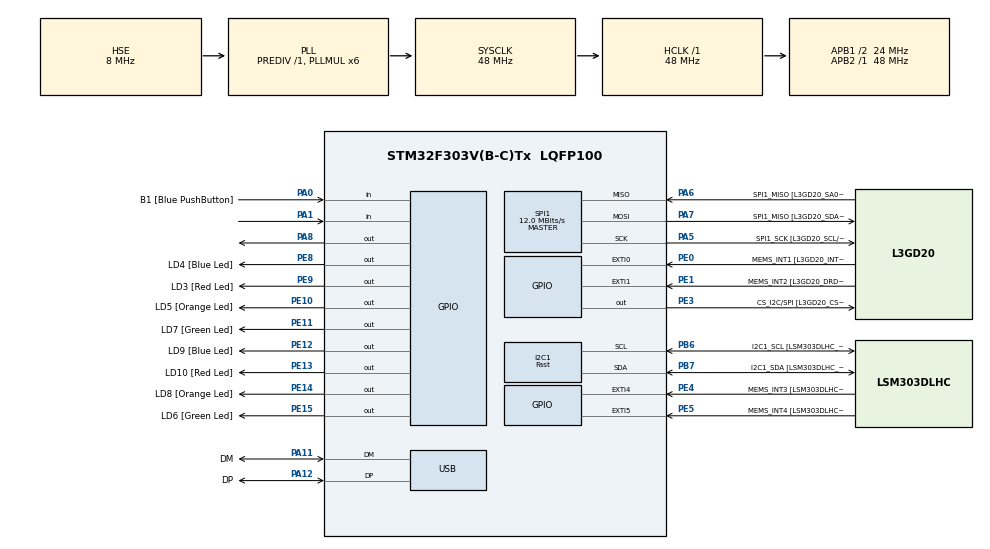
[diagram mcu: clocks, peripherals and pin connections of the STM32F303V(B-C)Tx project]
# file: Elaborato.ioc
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I2C1.I2C_Speed_Mode=I2C_Fast
I2C1.Timing=0x0000020B
I2C1.Timing-I2C=0x2000090E
Mcu.Family=STM32F3
Mcu.Name=STM32F303V(B-C)Tx
Mcu.Package=LQFP100
NVIC.PriorityGroup=NVIC_PRIORITYGROUP_0
PA0.GPIO_Label=B1 [Blue PushButton]
PA0.Signal=GPIO_Input
PA1.Signal=GPIO_Input
PA11.GPIO_Label=DM
PA11.Mode=Device
PA11.Signal=USB_DM
PA12.GPIO_Label=DP
PA12.Mode=Device
PA12.Signal=USB_DP
PA13.GPIO_Label=SWDIO
PA13.Mode=Serial_Wire
PA13.Signal=SYS_JTMS-SWDIO
PA14.GPIO_Label=SWCLK
PA14.Mode=Serial_Wire
PA14.Signal=SYS_JTCK-SWCLK
PA5.GPIO_Label=SPI1_SCK [L3GD20_SCL/SPC]
PA5.Mode=Full_Duplex_Master
PA5.Signal=SPI1_SCK
PA6.GPIO_Label=SPI1_MISO [L3GD20_SA0/SDO]
PA6.Mode=Full_Duplex_Master
PA6.Signal=SPI1_MISO
PA7.GPIO_Label=SPI1_MISO [L3GD20_SDA/SDI/SDO]
PA7.Mode=Full_Duplex_Master
PA7.Signal=SPI1_MOSI
PA8.Signal=GPIO_Output
PB3.GPIO_Label=SWO
PB3.Signal=SYS_JTDO-TRACESWO
PB6.GPIO_Label=I2C1_SCL [LSM303DLHC_SCL]
PB6.GPIO_Pu=GPIO_PULLUP
PB6.Mode=I2C
PB6.Signal=I2C1_SCL
PB7.GPIO_Label=I2C1_SDA [LSM303DLHC_SDA]
PB7.GPIO_Pu=GPIO_PULLUP
PB7.Mode=I2C
PB7.Signal=I2C1_SDA
PC14-OSC32_IN.GPIO_Label=OSC32_IN
PC14-OSC32_IN.Signal=RCC_OSC32_IN
PC15-OSC32_OUT.GPIO_Label=OSC32_OUT
PC15-OSC32_OUT.Signal=RCC_OSC32_OUT
PE0.GPIO_Label=MEMS_INT1 [L3GD20_INT1]
PE0.GPIO_ModeDefaultEXTI=GPIO_MODE_EVT_RISING
PE0.Signal=GPXTI0
PE1.GPIO_Label=MEMS_INT2 [L3GD20_DRDY/INT2]
PE1.GPIO_ModeDefaultEXTI=GPIO_MODE_EVT_RISING
PE1.Signal=GPXTI1
PE10.GPIO_Label=LD5 [Orange Led]
PE10.Signal=GPIO_Output
PE11.GPIO_Label=LD7 [Green Led]
PE11.Signal=GPIO_Output
PE12.GPIO_Label=LD9 [Blue Led]
PE12.Signal=GPIO_Output
PE13.GPIO_Label=LD10 [Red Led]
PE13.Signal=GPIO_Output
PE14.GPIO_Label=LD8 [Orange Led]
PE14.Signal=GPIO_Output
PE15.GPIO_Label=LD6 [Green Led]
PE15.Signal=GPIO_Output
PE3.GPIO_Label=CS_I2C/SPI [L3GD20_CS_I2C/SPI]
PE3.Signal=GPIO_Output
PE4.GPIO_Label=MEMS_INT3 [LSM303DLHC_INT1]
PE4.GPIO_ModeDefaultEXTI=GPIO_MODE_EVT_RISING
PE4.Signal=GPXTI4
PE5.GPIO_Label=MEMS_INT4 [LSM303DLHC_INT2]
PE5.GPIO_ModeDefaultEXTI=GPIO_MODE_EVT_RISING
PE5.Signal=GPXTI5
PE8.GPIO_Label=LD4 [Blue Led]
PE8.Signal=GPIO_Output
PE9.GPIO_Label=LD3 [Red Led]
PE9.Signal=GPIO_Output
PF0-OSC_IN.GPIO_Label=OSC_IN
PF0-OSC_IN.Mode=HSE-External-Oscillator
PF0-OSC_IN.Signal=RCC_OSC_IN
PF1-OSC_OUT.GPIO_Label=OSC_OUT
PF1-OSC_OUT.Mode=HSE-External-Oscillator
PF1-OSC_OUT.Signal=RCC_OSC_OUT
ProjectManager.HeapSize=0x200
ProjectManager.StackSize=0x400
ProjectManager.TargetToolchain=STM32CubeIDE
RCC.AHBFreq_Value=48000000
RCC.APB1CLKDivider=RCC_HCLK_DIV2
RCC.APB1Freq_Value=24000000
RCC.APB1TimFreq_Value=48000000
RCC.APB2Freq_Value=48000000
RCC.APB2TimFreq_Value=48000000
RCC.CortexFreq_Value=48000000
RCC.HCLKFreq_Value=48000000
RCC.HSE_VALUE=8000000
RCC.HSI_VALUE=8000000
RCC.LSE_VALUE=32768
RCC.PLLMUL=RCC_PLL_MUL6
RCC.SYSCLKFreq_VALUE=48000000
RCC.SYSCLKSourceVirtual=RCC_SYSCLKSOURCE_PLLCLK
RCC.USBFreq_Value=48000000
SPI1.BaudRatePrescaler=SPI_BAUDRATEPRESCALER_4
SPI1.BaudRatePrescaler-Full_Duplex_Master=SPI_BAUDRATEPRESCALER_2
SPI1.CalculateBaudRate=12.0 MBits/s
SPI1.CalculateBaudRate-Full_Duplex_Master=24.0 MBits/s
SPI1.Direction=SPI_DIRECTION_2LINES
SPI1.Mode=SPI_MODE_MASTER
SPI1.Mode-Full_Duplex_Master=SPI_MODE_MASTER
SPI1.VirtualType=VM_MASTER
VP_TIM2_VS_ClockSourceINT.Mode=Internal
board=STM32F3DISCOVERY

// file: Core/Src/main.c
/* USER CODE BEGIN Header */
/**
  ******************************************************************************
  * @file           : main.c
  * @brief          : Main program body
  ******************************************************************************
  * @attention
  *
  * Copyright (c) 2024 STMicroelectronics.
  * All rights reserved.
  *
  * This software is licensed under terms that can be found in the LICENSE file
  * in the root directory of this software component.
  * If no LICENSE file comes with this software, it is provided AS-IS.
  *
  ******************************************************************************
  */
/* USER CODE END Header */
#include "main.h"

/* USER CODE BEGIN Includes */
#include "ssd1306.h"
#include "ssd1306_tests.h"
#include "ssd1306_fonts.h"
#include "string.h"
#include "stdio.h"
#include "hx711.h"
/* USER CODE END Includes */

I2C_HandleTypeDef hi2c1;

SPI_HandleTypeDef hspi1;

TIM_HandleTypeDef htim2;

PCD_HandleTypeDef hpcd_USB_FS;

void SystemClock_Config(void);
static void MX_GPIO_Init(void);
static void MX_I2C1_Init(void);
static void MX_SPI1_Init(void);
static void MX_USB_PCD_Init(void);
static void MX_TIM2_Init(void);

int main(void)
{

  /* MCU Configuration--------------------------------------------------------*/

  /* Reset of all peripherals, Initializes the Flash interface and the Systick. */
  HAL_Init();

  /* Configure the system clock */
  SystemClock_Config();

  /* Initialize all configured peripherals */
  MX_GPIO_Init();
  MX_I2C1_Init();
  MX_SPI1_Init();
  MX_USB_PCD_Init();
  MX_TIM2_Init();
  /* USER CODE BEGIN 2 */
  ssd1306_Init();
  HAL_TIM_Base_Start(&htim2);
  HAL_GPIO_WritePin(HX711_SCK_PORT, HX711_SCK_PIN, GPIO_PIN_SET);
  HAL_Delay(10);
  HAL_GPIO_WritePin(HX711_SCK_PORT, HX711_SCK_PIN, GPIO_PIN_RESET);
  HAL_Delay(10);

  /* USER CODE END 2 */

  /* Infinite loop */
  /* USER CODE BEGIN WHILE */
  	  // Inizializzazione HX711
  	  HX711_Init();
      // Inizializzazione SSD1306
  	  HX711_SetGain(128);
  	  //HX711_IsReady();

      while (1) {

    	  int32_t weight = HX711_Read();

    	  printf("Peso : %ld",weight);

    	  HAL_Delay(1000);
    	  /*
			  ssd1306_Fill(Black);
              ssd1306_SetCursor(0, 0);
              ssd1306_WriteString(buffer, Font_7x10, White);
              ssd1306_UpdateScreen();
			*/
          }
          // Attendi un po' prima di leggere di nuovo

    /* USER CODE END WHILE */

}

void SystemClock_Config(void)
{
  RCC_OscInitTypeDef RCC_OscInitStruct = {0};
  RCC_ClkInitTypeDef RCC_ClkInitStruct = {0};
  RCC_PeriphCLKInitTypeDef PeriphClkInit = {0};

  /** Initializes the RCC Oscillators according to the specified parameters
  * in the RCC_OscInitTypeDef structure.
  */
  RCC_OscInitStruct.OscillatorType = RCC_OSCILLATORTYPE_HSI|RCC_OSCILLATORTYPE_HSE;
  RCC_OscInitStruct.HSEState = RCC_HSE_ON;
  RCC_OscInitStruct.HSEPredivValue = RCC_HSE_PREDIV_DIV1;
  RCC_OscInitStruct.HSIState = RCC_HSI_ON;
  RCC_OscInitStruct.HSICalibrationValue = RCC_HSICALIBRATION_DEFAULT;
  RCC_OscInitStruct.PLL.PLLState = RCC_PLL_ON;
  RCC_OscInitStruct.PLL.PLLSource = RCC_PLLSOURCE_HSE;
  RCC_OscInitStruct.PLL.PLLMUL = RCC_PLL_MUL6;
  if (HAL_RCC_OscConfig(&RCC_OscInitStruct) != HAL_OK)
  {
    Error_Handler();
  }

  /** Initializes the CPU, AHB and APB buses clocks
  */
  RCC_ClkInitStruct.ClockType = RCC_CLOCKTYPE_HCLK|RCC_CLOCKTYPE_SYSCLK
                              |RCC_CLOCKTYPE_PCLK1|RCC_CLOCKTYPE_PCLK2;
  RCC_ClkInitStruct.SYSCLKSource = RCC_SYSCLKSOURCE_PLLCLK;
  RCC_ClkInitStruct.AHBCLKDivider = RCC_SYSCLK_DIV1;
  RCC_ClkInitStruct.APB1CLKDivider = RCC_HCLK_DIV2;
  RCC_ClkInitStruct.APB2CLKDivider = RCC_HCLK_DIV1;

  if (HAL_RCC_ClockConfig(&RCC_ClkInitStruct, FLASH_LATENCY_1) != HAL_OK)
  {
    Error_Handler();
  }
  PeriphClkInit.PeriphClockSelection = RCC_PERIPHCLK_USB|RCC_PERIPHCLK_I2C1;
  PeriphClkInit.I2c1ClockSelection = RCC_I2C1CLKSOURCE_HSI;
  PeriphClkInit.USBClockSelection = RCC_USBCLKSOURCE_PLL;
  if (HAL_RCCEx_PeriphCLKConfig(&PeriphClkInit) != HAL_OK)
  {
    Error_Handler();
  }
}

static void MX_I2C1_Init(void)
{

  hi2c1.Instance = I2C1;
  hi2c1.Init.Timing = 0x0000020B;
  hi2c1.Init.OwnAddress1 = 0;
  hi2c1.Init.AddressingMode = I2C_ADDRESSINGMODE_7BIT;
  hi2c1.Init.DualAddressMode = I2C_DUALADDRESS_DISABLE;
  hi2c1.Init.OwnAddress2 = 0;
  hi2c1.Init.OwnAddress2Masks = I2C_OA2_NOMASK;
  hi2c1.Init.GeneralCallMode = I2C_GENERALCALL_DISABLE;
  hi2c1.Init.NoStretchMode = I2C_NOSTRETCH_DISABLE;
  if (HAL_I2C_Init(&hi2c1) != HAL_OK)
  {
    Error_Handler();
  }

  /** Configure Analogue filter
  */
  if (HAL_I2CEx_ConfigAnalogFilter(&hi2c1, I2C_ANALOGFILTER_ENABLE) != HAL_OK)
  {
    Error_Handler();
  }

  /** Configure Digital filter
  */
  if (HAL_I2CEx_ConfigDigitalFilter(&hi2c1, 0) != HAL_OK)
  {
    Error_Handler();
  }

}

static void MX_SPI1_Init(void)
{

  /* SPI1 parameter configuration*/
  hspi1.Instance = SPI1;
  hspi1.Init.Mode = SPI_MODE_MASTER;
  hspi1.Init.Direction = SPI_DIRECTION_2LINES;
  hspi1.Init.DataSize = SPI_DATASIZE_4BIT;
  hspi1.Init.CLKPolarity = SPI_POLARITY_LOW;
  hspi1.Init.CLKPhase = SPI_PHASE_1EDGE;
  hspi1.Init.NSS = SPI_NSS_SOFT;
  hspi1.Init.BaudRatePrescaler = SPI_BAUDRATEPRESCALER_4;
  hspi1.Init.FirstBit = SPI_FIRSTBIT_MSB;
  hspi1.Init.TIMode = SPI_TIMODE_DISABLE;
  hspi1.Init.CRCCalculation = SPI_CRCCALCULATION_DISABLE;
  hspi1.Init.CRCPolynomial = 7;
  hspi1.Init.CRCLength = SPI_CRC_LENGTH_DATASIZE;
  hspi1.Init.NSSPMode = SPI_NSS_PULSE_ENABLE;
  if (HAL_SPI_Init(&hspi1) != HAL_OK)
  {
    Error_Handler();
  }

}

static void MX_TIM2_Init(void)
{

  TIM_ClockConfigTypeDef sClockSourceConfig = {0};
  TIM_MasterConfigTypeDef sMasterConfig = {0};

  htim2.Instance = TIM2;
  htim2.Init.Prescaler = 0;
  htim2.Init.CounterMode = TIM_COUNTERMODE_UP;
  htim2.Init.Period = 4294967295;
  htim2.Init.ClockDivision = TIM_CLOCKDIVISION_DIV1;
  htim2.Init.AutoReloadPreload = TIM_AUTORELOAD_PRELOAD_DISABLE;
  if (HAL_TIM_Base_Init(&htim2) != HAL_OK)
  {
    Error_Handler();
  }
  sClockSourceConfig.ClockSource = TIM_CLOCKSOURCE_INTERNAL;
  if (HAL_TIM_ConfigClockSource(&htim2, &sClockSourceConfig) != HAL_OK)
  {
    Error_Handler();
  }
  sMasterConfig.MasterOutputTrigger = TIM_TRGO_RESET;
  sMasterConfig.MasterSlaveMode = TIM_MASTERSLAVEMODE_DISABLE;
  if (HAL_TIMEx_MasterConfigSynchronization(&htim2, &sMasterConfig) != HAL_OK)
  {
    Error_Handler();
  }

}

static void MX_USB_PCD_Init(void)
{

  hpcd_USB_FS.Instance = USB;
  hpcd_USB_FS.Init.dev_endpoints = 8;
  hpcd_USB_FS.Init.speed = PCD_SPEED_FULL;
  hpcd_USB_FS.Init.phy_itface = PCD_PHY_EMBEDDED;
  hpcd_USB_FS.Init.low_power_enable = DISABLE;
  hpcd_USB_FS.Init.battery_charging_enable = DISABLE;
  if (HAL_PCD_Init(&hpcd_USB_FS) != HAL_OK)
  {
    Error_Handler();
  }

}

static void MX_GPIO_Init(void)
{
  GPIO_InitTypeDef GPIO_InitStruct = {0};

  /* GPIO Ports Clock Enable */
  __HAL_RCC_GPIOE_CLK_ENABLE();
  __HAL_RCC_GPIOC_CLK_ENABLE();
  __HAL_RCC_GPIOF_CLK_ENABLE();
  __HAL_RCC_GPIOA_CLK_ENABLE();
  __HAL_RCC_GPIOB_CLK_ENABLE();

  /*Configure GPIO pin Output Level */
  HAL_GPIO_WritePin(GPIOE, CS_I2C_SPI_Pin|LD4_Pin|LD3_Pin|LD5_Pin
                          |LD7_Pin|LD9_Pin|LD10_Pin|LD8_Pin
                          |LD6_Pin, GPIO_PIN_RESET);

  /*Configure GPIO pin Output Level */
  HAL_GPIO_WritePin(GPIOA, GPIO_PIN_8, GPIO_PIN_RESET);

  /*Configure GPIO pins : CS_I2C_SPI_Pin LD4_Pin LD3_Pin LD5_Pin
                           LD7_Pin LD9_Pin LD10_Pin LD8_Pin
                           LD6_Pin */
  GPIO_InitStruct.Pin = CS_I2C_SPI_Pin|LD4_Pin|LD3_Pin|LD5_Pin
                          |LD7_Pin|LD9_Pin|LD10_Pin|LD8_Pin
                          |LD6_Pin;
  GPIO_InitStruct.Mode = GPIO_MODE_OUTPUT_PP;
  GPIO_InitStruct.Pull = GPIO_NOPULL;
  GPIO_InitStruct.Speed = GPIO_SPEED_FREQ_LOW;
  HAL_GPIO_Init(GPIOE, &GPIO_InitStruct);

  /*Configure GPIO pins : MEMS_INT3_Pin MEMS_INT4_Pin MEMS_INT1_Pin MEMS_INT2_Pin */
  GPIO_InitStruct.Pin = MEMS_INT3_Pin|MEMS_INT4_Pin|MEMS_INT1_Pin|MEMS_INT2_Pin;
  GPIO_InitStruct.Mode = GPIO_MODE_EVT_RISING;
  GPIO_InitStruct.Pull = GPIO_NOPULL;
  HAL_GPIO_Init(GPIOE, &GPIO_InitStruct);

  /*Configure GPIO pins : B1_Pin PA1 */
  GPIO_InitStruct.Pin = B1_Pin|GPIO_PIN_1;
  GPIO_InitStruct.Mode = GPIO_MODE_INPUT;
  GPIO_InitStruct.Pull = GPIO_NOPULL;
  HAL_GPIO_Init(GPIOA, &GPIO_InitStruct);

  /*Configure GPIO pin : PA8 */
  GPIO_InitStruct.Pin = GPIO_PIN_8;
  GPIO_InitStruct.Mode = GPIO_MODE_OUTPUT_PP;
  GPIO_InitStruct.Pull = GPIO_NOPULL;
  GPIO_InitStruct.Speed = GPIO_SPEED_FREQ_LOW;
  HAL_GPIO_Init(GPIOA, &GPIO_InitStruct);

}

void Error_Handler(void)
{
  __disable_irq();
  while (1)
  {
  }
}
